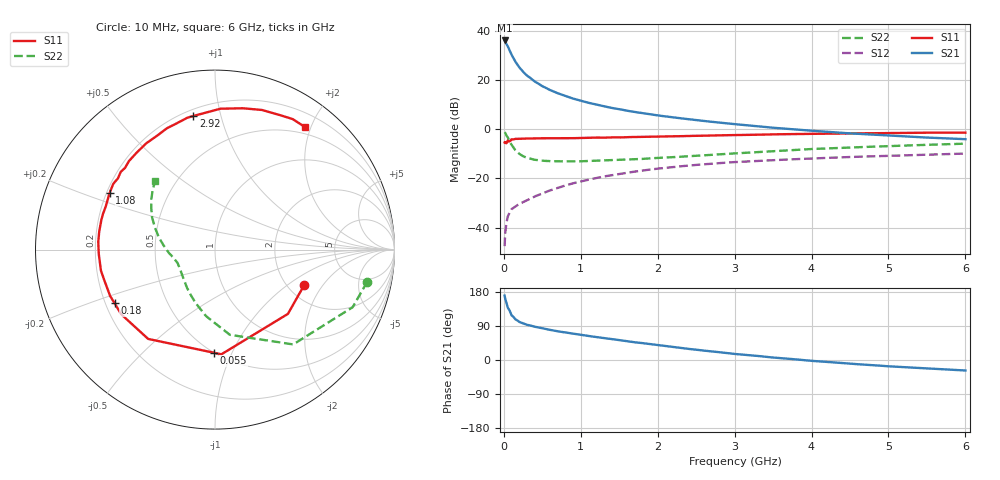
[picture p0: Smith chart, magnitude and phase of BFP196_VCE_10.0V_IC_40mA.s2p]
! Infineon Technologies  Discrete & RF Semiconductors
! BFP196
! VCE = 10.0V,  IC =  40mA
! Common Emitter S-Parameters:  Jan 2016
# GHz  S  MA  R  50
!  f  S11  S21  S12  S22
! GHz  MAG  ANG  MAG  ANG  MAG  ANG  MAG  ANG
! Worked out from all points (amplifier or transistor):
!   210 points, 10 MHz to 6 GHz, reference 50 ohm
!   highest |S21| = 36.0 dB at 10 MHz (marker M1)
!   |S21| within 3 dB of that: start of sweep to 60.42 MHz
!   unconditionally stable (mu >= 1): 583.8 MHz to 4.899 GHz
!   at 185 MHz: K = 0.61, MSG = 28.3 dB, |S12| = -30.7 dB
!   at 1.52 GHz: K = 1.09, MAG = 11.2 dB, |S12| = -18.1 dB
!   at 6 GHz: K = 0.98, MSG = 2.9 dB, |S12| = -9.9 dB
!   S11 on the Smith chart (normalised r, x): 10 MHz: 2.46, -1.35; 55 MHz: 0.50, -0.86; 180 MHz: 0.24, -0.24; 1.08 GHz: 0.21, +0.24; 2.92 GHz: 0.24, +0.82; 6 GHz: 0.39, +1.91
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0.01  0.5351 -21.5  63.17 170.0  0.0042 73.1  0.8669 -11.9
0.02  0.5416 -41.4  59.61 160.0  0.0084 71.9  0.8316 -22.7
0.05  0.5844 -86.5  48.42 138.5  0.0167 57.0  0.6848 -50.5
0.055  0.5748 -90.5  46.63 137.1  0.0174 55.5  0.6586 -52.6
0.1  0.6216 -126.8  32.43 117.9  0.0237 46.0  0.4818 -80.1
0.15  0.6347 -145.4  23.3 107.3  0.0269 44.9  0.3738 -97.7
0.18  0.6344 -151.9  20.12 103.7  0.0289 45.7  0.3378 -104.5
0.2  0.6388 -156.2  18.06 100.6  0.0302 46.1  0.317 -109.9
0.26  0.6406 -165.2  14.11 95.5  0.0335 48.3  0.2777 -121.1
0.3  0.6461 -169.6  12.26 92.9  0.0358 50.0  0.2628 -126.6
0.4  0.648 -177.8  9.303 87.8  0.0428 53.1  0.2389 -137.2
0.5  0.6518 176.3  7.452 83.6  0.0492 55.0  0.2285 -144.5
0.6  0.6529 171.1  6.227 79.5  0.0569 56.7  0.2235 -149.6
0.8  0.655 162.4  4.693 72.6  0.0718 57.6  0.2216 -156.6
1.02  0.663 153.5  3.694 65.9  0.088 57.4  0.2229 -161.5
1.08  0.6665 151.5  3.495 64.1  0.0925 57.0  0.2248 -162.7
2.02  0.7056 122.2  1.883 39.0  0.1587 46.1  0.2607 -177.2
2.92  0.7538 99.2  1.3 17.9  0.2099 33.7  0.3158 168.6
3.1  0.7607 95.5  1.222 14.3  0.218 31.2  0.3278 165.7
4.1  0.8052 77.3  0.905 -3.6  0.257 18.9  0.4001 151.5
5.1  0.8329 63.9  0.729 -17.7  0.2904 8.1  0.4573 140.6
6  0.8472 53.7  0.625 -27.7  0.319 -1.6  0.5065 131.3
